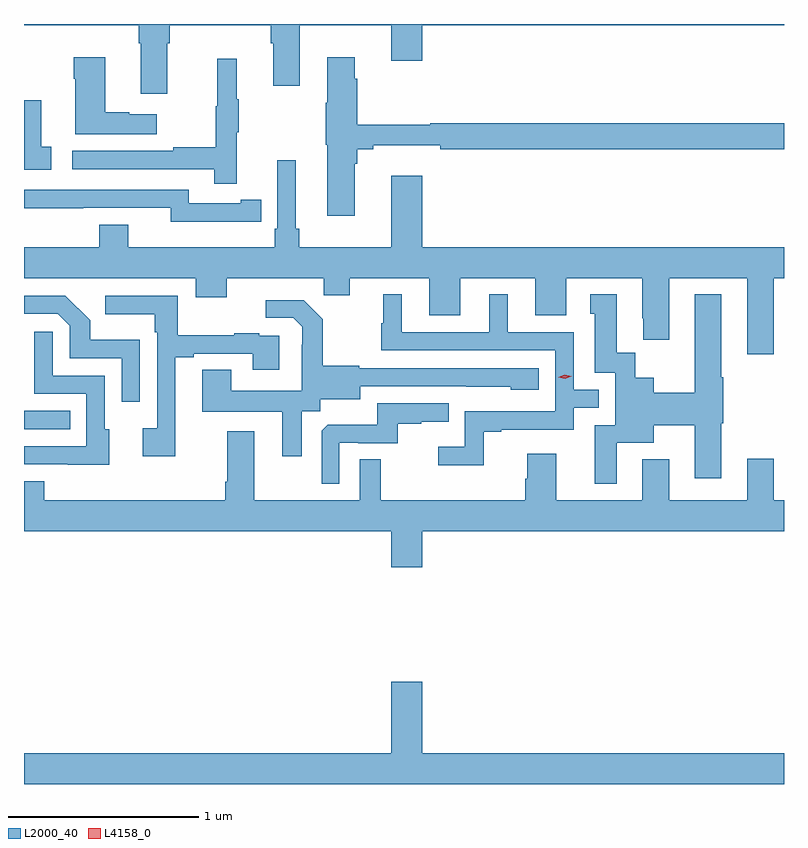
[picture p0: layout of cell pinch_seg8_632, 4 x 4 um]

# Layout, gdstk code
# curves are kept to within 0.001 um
import gdstk
lib = gdstk.Library(unit=1e-6, precision=1e-09)
def R(c, l, rs):  # rectangles x0, y0, x1, y1
    for r in rs: c.add(gdstk.rectangle(r[:2], r[2:], *l))
def P(c, l, *ps):  # polygons
    for p in ps: c.add(gdstk.Polygon(p, *l))
L2000_40 = (2000, 40)
L4158_0 = (4158, 0)

pinch_seg8_632 = lib.new_cell('pinch_seg8_632')
R(pinch_seg8_632, L2000_40, [(306.932,1089.066,307.175,1089.162)])
P(pinch_seg8_632, L2000_40, [(307.687,1091.096),(307.7,1091.096),(307.7,1091.192),(308.231,1091.192),(308.231,1091.096),(308.243,1091.096),(308.243,1090.872),(308.383,1090.872),(308.383,1091.192),(308.864,1091.192),(308.864,1091.004),(309.028,1091.004),(309.028,1091.192),(310.932,1091.192),(310.932,1091.198),(306.932,1091.198),(306.932,1091.192),(307.535,1091.192),(307.535,1091.096),(307.547,1091.096),(307.547,1090.83),(307.687,1090.83)],
  [(308.674,1090.463),(308.687,1090.463),(308.687,1090.54),(308.77,1090.54),(308.77,1090.559),(309.124,1090.559),(309.124,1090.54),(310.932,1090.54),(310.932,1090.676),(309.07,1090.676),(309.07,1090.669),(308.687,1090.669),(308.687,1090.91),(308.674,1090.91),(308.674,1091.023),(308.528,1091.023),(308.528,1090.784),(308.521,1090.784),(308.521,1090.563),(308.528,1090.563),(308.528,1090.188),(308.674,1090.188)],
  [(307.63,1090.723),(307.487,1090.723),(307.487,1090.733),(307.36,1090.733),(307.36,1091.023),(307.195,1091.023),(307.195,1090.91),(307.202,1090.91),(307.202,1090.619),(307.63,1090.619)],
  [(308.051,1090.627),(308.062,1090.627),(308.062,1090.801),(308.051,1090.801),(308.051,1091.014),(307.948,1091.014),(307.948,1090.764),(307.941,1090.764),(307.941,1090.55),(307.717,1090.55),(307.717,1090.53),(307.185,1090.53),(307.185,1090.434),(307.933,1090.434),(307.933,1090.356),(308.051,1090.356)],
  [(307.075,1090.551),(307.022,1090.551),(307.022,1090.798),(306.932,1090.798),(306.932,1090.431),(307.075,1090.431)],
  [(308.072,1090.158),(308.18,1090.158),(308.18,1090.274),(308.072,1090.274),(308.072,1090.254),(307.8,1090.254),(307.8,1090.326),(306.932,1090.326),(306.932,1090.229),(307.244,1090.229),(307.244,1090.23),(307.704,1090.23),(307.704,1090.157),(308.072,1090.157)],
  [(309.028,1090.399),(308.864,1090.399),(308.864,1090.024),(308.381,1090.024),(308.381,1090.12),(308.362,1090.12),(308.362,1090.48),(308.265,1090.48),(308.265,1090.12),(308.252,1090.12),(308.252,1090.024),(307.48,1090.024),(307.48,1090.141),(307.328,1090.141),(307.328,1090.024),(306.932,1090.024),(306.932,1089.86),(307.835,1089.86),(307.835,1089.761),(307.999,1089.761),(307.999,1089.86),(308.509,1089.86),(308.509,1089.77),(308.647,1089.77),(308.647,1089.86),(309.065,1089.86),(309.065,1089.666),(309.229,1089.666),(309.229,1089.86),(309.623,1089.86),(309.623,1089.666),(309.787,1089.666),(309.787,1089.86),(310.187,1089.86),(310.187,1089.649),(310.19,1089.649),(310.19,1089.537),(310.327,1089.537),(310.327,1089.86),(310.739,1089.86),(310.739,1089.459),(310.879,1089.459),(310.879,1089.86),(310.932,1089.86),(310.932,1090.024),(309.028,1090.024)],
  [(309.351,1089.051),(309.445,1089.051),(309.445,1089.063),(309.825,1089.063),(309.825,1089.177),(309.958,1089.177),(309.958,1089.273),(309.825,1089.273),(309.825,1089.576),(309.478,1089.576),(309.478,1089.775),(309.38,1089.775),(309.38,1089.576),(308.92,1089.576),(308.92,1089.775),(308.822,1089.775),(308.822,1089.624),(308.811,1089.624),(308.811,1089.48),(309.729,1089.48),(309.729,1089.159),(309.252,1089.159),(309.252,1088.974),(309.111,1088.974),(309.111,1088.876),(309.351,1088.876)],
  [(310.051,1088.993),(310.246,1088.993),(310.246,1089.085),(310.463,1089.085),(310.463,1088.808),(310.603,1088.808),(310.603,1089.096),(310.611,1089.096),(310.611,1089.34),(310.603,1089.34),(310.603,1089.775),(310.463,1089.775),(310.463,1089.257),(310.246,1089.257),(310.246,1089.337),(310.149,1089.337),(310.149,1089.467),(310.051,1089.467),(310.051,1089.775),(309.911,1089.775),(309.911,1089.672),(309.935,1089.672),(309.935,1089.363),(310.044,1089.363),(310.044,1089.087),(309.935,1089.087),(309.935,1088.778),(310.051,1088.778)],
  [(307.729,1089.444),(307.825,1089.444),(307.825,1089.462),(308.135,1089.462),(308.135,1089.378),(308.275,1089.378),(308.275,1089.558),(308.171,1089.558),(308.171,1089.571),(308.039,1089.571),(308.039,1089.56),(307.741,1089.56),(307.741,1089.768),(307.359,1089.768),(307.359,1089.671),(307.62,1089.671),(307.62,1089.575),(307.632,1089.575),(307.632,1089.07),(307.557,1089.07),(307.557,1088.922),(307.729,1088.922)],
  [(307.542,1089.535),(307.281,1089.535),(307.281,1089.638),(307.15,1089.768),(306.932,1089.768),(306.932,1089.672),(307.11,1089.672),(307.173,1089.609),(307.173,1089.438),(307.446,1089.438),(307.446,1089.21),(307.542,1089.21)],
  [(308.395,1089.16),(308.49,1089.16),(308.49,1089.224),(308.701,1089.224),(308.701,1089.291),(309.495,1089.29),(309.495,1089.272),(309.64,1089.272),(309.64,1089.387),(308.697,1089.387),(308.697,1089.4),(308.505,1089.4),(308.505,1089.645),(308.405,1089.745),(308.205,1089.745),(308.205,1089.651),(308.349,1089.651),(308.396,1089.604),(308.396,1089.509),(308.394,1089.509),(308.394,1089.268),(308.023,1089.268),(308.023,1089.377),(307.871,1089.377),(307.871,1089.158),(308.291,1089.158),(308.291,1088.922),(308.395,1088.922)],
  [(307.381,1089.066),(307.356,1089.066),(307.356,1089.348),(307.083,1089.348),(307.083,1089.577),(306.987,1089.577),(306.987,1089.252),(307.26,1089.252),(307.26,1088.976),(306.932,1088.976),(306.932,1088.88),(307.163,1088.88),(307.163,1088.879),(307.381,1088.879)],
  [(308.592,1088.994),(308.692,1088.994),(308.692,1088.991),(308.9,1088.991),(308.9,1089.093),(309.023,1089.093),(309.023,1089.104),(309.167,1089.104),(309.167,1089.201),(308.79,1089.201),(308.79,1089.089),(308.531,1089.089),(308.499,1089.057),(308.499,1088.777),(308.592,1088.777)],
  [(309.028,1088.528),(310.932,1088.528),(310.932,1088.692),(310.879,1088.692),(310.879,1088.911),(310.739,1088.911),(310.739,1088.692),(310.327,1088.692),(310.327,1088.908),(310.187,1088.908),(310.187,1088.692),(309.733,1088.692),(309.733,1088.935),(309.581,1088.935),(309.581,1088.805),(309.569,1088.805),(309.569,1088.692),(308.809,1088.692),(308.809,1088.906),(308.7,1088.906),(308.7,1088.692),(308.143,1088.692),(308.143,1089.055),(308.003,1089.055),(308.003,1088.788),(307.991,1088.788),(307.991,1088.692),(307.039,1088.692),(307.039,1088.791),(306.932,1088.791),(306.932,1088.528),(308.864,1088.528),(308.864,1088.34),(309.028,1088.34)],
  [(310.932,1087.36),(309.028,1087.36),(309.028,1087.735),(308.864,1087.735),(308.864,1087.36),(306.932,1087.36),(306.932,1087.198),(310.932,1087.198)])
P(pinch_seg8_632, L4158_0, [(309.78,1089.332),(309.745,1089.34),(309.745,1089.34),(309.745,1089.34),(309.778,1089.352),(309.813,1089.345),(309.814,1089.345),(309.813,1089.345)])

lib.write_gds('pinch_seg8_632.gds')
